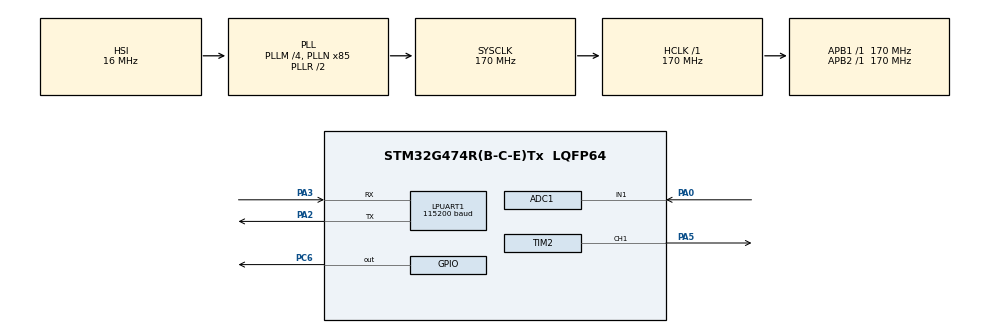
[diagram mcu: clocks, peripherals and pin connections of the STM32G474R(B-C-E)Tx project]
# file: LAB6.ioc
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ADC1.Channel-0\#ChannelRegularConversion=ADC_CHANNEL_1
ADC1.DMAContinuousRequests=ENABLE
ADC1.ExternalTrigConv=ADC_EXTERNALTRIG_T3_TRGO
ADC1.NbrOfConversionFlag=1
ADC1.OffsetNumber-0\#ChannelRegularConversion=ADC_OFFSET_NONE
ADC1.Overrun=ADC_OVR_DATA_OVERWRITTEN
ADC1.Rank-0\#ChannelRegularConversion=1
ADC1.SamplingTime-0\#ChannelRegularConversion=ADC_SAMPLETIME_47CYCLES_5
ADC1.master=1
Dma.ADC1.0.Direction=DMA_PERIPH_TO_MEMORY
Dma.ADC1.0.EventEnable=DISABLE
Dma.ADC1.0.Instance=DMA1_Channel1
Dma.ADC1.0.MemDataAlignment=DMA_MDATAALIGN_HALFWORD
Dma.ADC1.0.MemInc=DMA_MINC_ENABLE
Dma.ADC1.0.Mode=DMA_CIRCULAR
Dma.ADC1.0.PeriphDataAlignment=DMA_PDATAALIGN_HALFWORD
Dma.ADC1.0.PeriphInc=DMA_PINC_DISABLE
Dma.ADC1.0.Polarity=HAL_DMAMUX_REQ_GEN_RISING
Dma.ADC1.0.Priority=DMA_PRIORITY_HIGH
Dma.ADC1.0.RequestNumber=1
Dma.ADC1.0.SignalID=NONE
Dma.ADC1.0.SyncEnable=DISABLE
Dma.ADC1.0.SyncPolarity=HAL_DMAMUX_SYNC_NO_EVENT
Dma.ADC1.0.SyncRequestNumber=1
Dma.ADC1.0.SyncSignalID=NONE
Dma.Request0=ADC1
LPUART1.BaudRate=115200
Mcu.Family=STM32G4
Mcu.Name=STM32G474R(B-C-E)Tx
Mcu.Package=LQFP64
NVIC.DMA1_Channel1_IRQn=true\:0\:0\:false\:false\:true\:false\:true\:true
NVIC.PriorityGroup=NVIC_PRIORITYGROUP_4
PA0.Mode=IN1-Single-Ended
PA0.Signal=ADC1_IN1
PA13.GPIO_Label=T_SWDIO
PA13.Signal=SYS_JTMS-SWDIO
PA14.GPIO_Label=T_SWCLK
PA14.Signal=SYS_JTCK-SWCLK
PA2.Mode=Asynchronous
PA2.Signal=LPUART1_TX
PA3.Mode=Asynchronous
PA3.Signal=LPUART1_RX
PA5.Signal=S_TIM2_CH1
PB3.GPIO_Label=T_SWO
PB3.Signal=SYS_JTDO-SWO
PC14-OSC32_IN.GPIO_Label=RCC_OSC32_IN
PC14-OSC32_IN.Signal=RCC_OSC32_IN
PC15-OSC32_OUT.GPIO_Label=RCC_OSC32_OUT
PC15-OSC32_OUT.Signal=RCC_OSC32_OUT
PC6.Signal=GPIO_Output
PF0-OSC_IN.GPIO_Label=RCC_OSC_IN
PF0-OSC_IN.Signal=RCC_OSC_IN
PF1-OSC_OUT.GPIO_Label=RCC_OSC_OUT
PF1-OSC_OUT.Signal=RCC_OSC_OUT
ProjectManager.HeapSize=0x200
ProjectManager.StackSize=0x400
ProjectManager.TargetToolchain=STM32CubeIDE
RCC.ADC12Freq_Value=170000000
RCC.ADC345Freq_Value=170000000
RCC.AHBFreq_Value=170000000
RCC.APB1Freq_Value=170000000
RCC.APB1TimFreq_Value=170000000
RCC.APB2Freq_Value=170000000
RCC.APB2TimFreq_Value=170000000
RCC.CortexFreq_Value=170000000
RCC.EXTERNAL_CLOCK_VALUE=12288000
RCC.HCLKFreq_Value=170000000
RCC.HSE_VALUE=24000000
RCC.HSI48_VALUE=48000000
RCC.HSI_VALUE=16000000
RCC.LSE_VALUE=32768
RCC.PLLM=RCC_PLLM_DIV4
RCC.PLLN=85
RCC.RTCClockSelection=RCC_RTCCLKSOURCE_LSE
RCC.SYSCLKFreq_VALUE=170000000
RCC.SYSCLKSource=RCC_SYSCLKSOURCE_PLLCLK
RCC.USBFreq_Value=170000000
RCC.VCOOutputFreq_Value=340000000
SH.S_TIM2_CH1.0=TIM2_CH1,PWM Generation1 CH1
TIM2.Channel-PWM\ Generation1\ CH1=TIM_CHANNEL_1
TIM2.PeriodNoDither=999
TIM2.Prescaler=169
TIM3.AutoReloadPreload=TIM_AUTORELOAD_PRELOAD_DISABLE
TIM3.PeriodNoDither=124
TIM3.Prescaler=169
TIM3.TIM_MasterOutputTrigger=TIM_TRGO_UPDATE
VP_SYS_VS_DBSignals.Mode=DisableDeadBatterySignals
VP_TIM2_VS_ClockSourceINT.Mode=Internal
VP_TIM3_VS_ClockSourceINT.Mode=Internal
board=NUCLEO-G474RE

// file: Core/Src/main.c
/* USER CODE BEGIN Header */
/**
  ******************************************************************************
  * @file           : main.c
  * @brief          : Main program body
  ******************************************************************************
  * @attention
  *
  * Copyright (c) 2026 STMicroelectronics.
  * All rights reserved.
  *
  * This software is licensed under terms that can be found in the LICENSE file
  * in the root directory of this software component.
  * If no LICENSE file comes with this software, it is provided AS-IS.
  *
  ******************************************************************************
  */
/* USER CODE END Header */
#include "main.h"

/* USER CODE BEGIN Includes */
#include <stdio.h>
/* USER CODE END Includes */

ADC_HandleTypeDef hadc1;
DMA_HandleTypeDef hdma_adc1;

UART_HandleTypeDef hlpuart1;

TIM_HandleTypeDef htim2;
TIM_HandleTypeDef htim3;

/* USER CODE BEGIN PV */
#define ADC_BUF_SIZE 256
#define HALF_SIZE 128

uint16_t adc_buf[ADC_BUF_SIZE];

volatile uint8_t half_ready = 0;
volatile uint8_t full_ready = 0;

uint32_t noise = 0;
uint32_t threshold = 30;
uint32_t volume = 0;

uint32_t calibration_start = 0;
uint8_t calibrated = 0;

uint32_t duty = 0;

uint32_t last_uart_time = 0;
volatile uint16_t latest_adc = 0;
// PWM 律動燈新增變數
uint32_t current_duty = 0;
uint32_t target_duty = 0;
uint32_t last_fade_time = 0;

uint32_t red_threshold = 100;
/* USER CODE END PV */

void SystemClock_Config(void);
static void MX_GPIO_Init(void);
static void MX_DMA_Init(void);
static void MX_ADC1_Init(void);
static void MX_TIM2_Init(void);
static void MX_TIM3_Init(void);
static void MX_LPUART1_UART_Init(void);
/* USER CODE BEGIN PFP */
void Process_Audio(uint16_t start);
/* USER CODE END PFP */

int main(void)
{

  /* MCU Configuration--------------------------------------------------------*/

  /* Reset of all peripherals, Initializes the Flash interface and the Systick. */
  HAL_Init();

  /* Configure the system clock */
  SystemClock_Config();

  /* Initialize all configured peripherals */
  MX_GPIO_Init();
  MX_DMA_Init();
  MX_ADC1_Init();
  MX_TIM2_Init();
  MX_TIM3_Init();
  MX_LPUART1_UART_Init();
  /* USER CODE BEGIN 2 */

  // 啟動 TIM2 CH1 的 PWM
  if (HAL_TIM_PWM_Start(&htim2, TIM_CHANNEL_1) != HAL_OK)
  {
      Error_Handler();
  }

  // LED 初始熄滅
  __HAL_TIM_SET_COMPARE(&htim2, TIM_CHANNEL_1, 0);

  // 校正 ADC1
  if (HAL_ADCEx_Calibration_Start(&hadc1,
                                 ADC_SINGLE_ENDED) != HAL_OK)
  {
      Error_Handler();
  }

  // 啟動 ADC + DMA
  if (HAL_ADC_Start_DMA(&hadc1,
                        (uint32_t *)adc_buf,
                        ADC_BUF_SIZE) != HAL_OK)
  {
      Error_Handler();
  }

  // 記錄環境噪音校正開始時間
  calibration_start = HAL_GetTick();

  // 啟動 TIM3，開始每秒取樣 8000 次
  if (HAL_TIM_Base_Start(&htim3) != HAL_OK)
  {
      Error_Handler();
  }

  /* USER CODE END 2 */

  /* Infinite loop */
  while (1)
  {

    /* USER CODE BEGIN 3 */

	  if (half_ready)
	  {
	      half_ready = 0;
	      Process_Audio(0);
	  }

	  if (full_ready)
	  {
	      full_ready = 0;
	      Process_Audio(128);
	  }

	  // 每 20 ms 傳送一次真正的 ADC 數值
	  if (HAL_GetTick() - last_uart_time >= 20)
	  {
	      last_uart_time = HAL_GetTick();

	      char msg[32];

	      int len = snprintf(
	          msg,
	          sizeof(msg),
	          "ADC=%lu\r\n",
	          (unsigned long)latest_adc
	      );

	      if (len > 0 && len < (int)sizeof(msg))
	      {
	          HAL_UART_Transmit(
	              &hlpuart1,
	              (uint8_t *)msg,
	              (uint16_t)len,
	              20
	          );
	      }
	  }

	  // 每 5 ms 更新一次 PWM
	  if (HAL_GetTick() - last_fade_time >= 5)
	  {
	      last_fade_time = HAL_GetTick();

	      if (target_duty > current_duty)
	      {
	          // 聲音變大時，快速變亮
	          current_duty += 80;

	          if (current_duty > target_duty)
	          {
	              current_duty = target_duty;
	          }
	      }
	      else if (target_duty < current_duty)
	      {
	          // 聲音變小時，慢慢變暗
	          if (current_duty > 10)
	          {
	              current_duty -= 10;
	          }
	          else
	          {
	              current_duty = 0;
	          }
	      }

	      __HAL_TIM_SET_COMPARE(
	          &htim2,
	          TIM_CHANNEL_1,
	          current_duty
	      );
	  }

	  /* USER CODE END 3 */
	    }
}
void SystemClock_Config(void)
{
  RCC_OscInitTypeDef RCC_OscInitStruct = {0};
  RCC_ClkInitTypeDef RCC_ClkInitStruct = {0};

  /** Configure the main internal regulator output voltage
  */
  HAL_PWREx_ControlVoltageScaling(PWR_REGULATOR_VOLTAGE_SCALE1_BOOST);

  /** Initializes the RCC Oscillators according to the specified parameters
  * in the RCC_OscInitTypeDef structure.
  */
  RCC_OscInitStruct.OscillatorType = RCC_OSCILLATORTYPE_HSI;
  RCC_OscInitStruct.HSIState = RCC_HSI_ON;
  RCC_OscInitStruct.HSICalibrationValue = RCC_HSICALIBRATION_DEFAULT;
  RCC_OscInitStruct.PLL.PLLState = RCC_PLL_ON;
  RCC_OscInitStruct.PLL.PLLSource = RCC_PLLSOURCE_HSI;
  RCC_OscInitStruct.PLL.PLLM = RCC_PLLM_DIV4;
  RCC_OscInitStruct.PLL.PLLN = 85;
  RCC_OscInitStruct.PLL.PLLP = RCC_PLLP_DIV2;
  RCC_OscInitStruct.PLL.PLLQ = RCC_PLLQ_DIV2;
  RCC_OscInitStruct.PLL.PLLR = RCC_PLLR_DIV2;
  if (HAL_RCC_OscConfig(&RCC_OscInitStruct) != HAL_OK)
  {
    Error_Handler();
  }

  /** Initializes the CPU, AHB and APB buses clocks
  */
  RCC_ClkInitStruct.ClockType = RCC_CLOCKTYPE_HCLK|RCC_CLOCKTYPE_SYSCLK
                              |RCC_CLOCKTYPE_PCLK1|RCC_CLOCKTYPE_PCLK2;
  RCC_ClkInitStruct.SYSCLKSource = RCC_SYSCLKSOURCE_PLLCLK;
  RCC_ClkInitStruct.AHBCLKDivider = RCC_SYSCLK_DIV1;
  RCC_ClkInitStruct.APB1CLKDivider = RCC_HCLK_DIV1;
  RCC_ClkInitStruct.APB2CLKDivider = RCC_HCLK_DIV1;

  if (HAL_RCC_ClockConfig(&RCC_ClkInitStruct, FLASH_LATENCY_4) != HAL_OK)
  {
    Error_Handler();
  }
}

static void MX_ADC1_Init(void)
{

  ADC_MultiModeTypeDef multimode = {0};
  ADC_ChannelConfTypeDef sConfig = {0};

  /** Common config
  */
  hadc1.Instance = ADC1;
  hadc1.Init.ClockPrescaler = ADC_CLOCK_SYNC_PCLK_DIV4;
  hadc1.Init.Resolution = ADC_RESOLUTION_12B;
  hadc1.Init.DataAlign = ADC_DATAALIGN_RIGHT;
  hadc1.Init.GainCompensation = 0;
  hadc1.Init.ScanConvMode = ADC_SCAN_DISABLE;
  hadc1.Init.EOCSelection = ADC_EOC_SINGLE_CONV;
  hadc1.Init.LowPowerAutoWait = DISABLE;
  hadc1.Init.ContinuousConvMode = DISABLE;
  hadc1.Init.NbrOfConversion = 1;
  hadc1.Init.DiscontinuousConvMode = DISABLE;
  hadc1.Init.ExternalTrigConv = ADC_EXTERNALTRIG_T3_TRGO;
  hadc1.Init.ExternalTrigConvEdge = ADC_EXTERNALTRIGCONVEDGE_RISING;
  hadc1.Init.DMAContinuousRequests = ENABLE;
  hadc1.Init.Overrun = ADC_OVR_DATA_OVERWRITTEN;
  hadc1.Init.OversamplingMode = DISABLE;
  if (HAL_ADC_Init(&hadc1) != HAL_OK)
  {
    Error_Handler();
  }

  /** Configure the ADC multi-mode
  */
  multimode.Mode = ADC_MODE_INDEPENDENT;
  if (HAL_ADCEx_MultiModeConfigChannel(&hadc1, &multimode) != HAL_OK)
  {
    Error_Handler();
  }

  /** Configure Regular Channel
  */
  sConfig.Channel = ADC_CHANNEL_1;
  sConfig.Rank = ADC_REGULAR_RANK_1;
  sConfig.SamplingTime = ADC_SAMPLETIME_47CYCLES_5;
  sConfig.SingleDiff = ADC_SINGLE_ENDED;
  sConfig.OffsetNumber = ADC_OFFSET_NONE;
  sConfig.Offset = 0;
  if (HAL_ADC_ConfigChannel(&hadc1, &sConfig) != HAL_OK)
  {
    Error_Handler();
  }

}

static void MX_LPUART1_UART_Init(void)
{

  hlpuart1.Instance = LPUART1;
  hlpuart1.Init.BaudRate = 115200;
  hlpuart1.Init.WordLength = UART_WORDLENGTH_8B;
  hlpuart1.Init.StopBits = UART_STOPBITS_1;
  hlpuart1.Init.Parity = UART_PARITY_NONE;
  hlpuart1.Init.Mode = UART_MODE_TX_RX;
  hlpuart1.Init.HwFlowCtl = UART_HWCONTROL_NONE;
  hlpuart1.Init.OneBitSampling = UART_ONE_BIT_SAMPLE_DISABLE;
  hlpuart1.Init.ClockPrescaler = UART_PRESCALER_DIV1;
  hlpuart1.AdvancedInit.AdvFeatureInit = UART_ADVFEATURE_NO_INIT;
  if (HAL_UART_Init(&hlpuart1) != HAL_OK)
  {
    Error_Handler();
  }
  if (HAL_UARTEx_SetTxFifoThreshold(&hlpuart1, UART_TXFIFO_THRESHOLD_1_8) != HAL_OK)
  {
    Error_Handler();
  }
  if (HAL_UARTEx_SetRxFifoThreshold(&hlpuart1, UART_RXFIFO_THRESHOLD_1_8) != HAL_OK)
  {
    Error_Handler();
  }
  if (HAL_UARTEx_DisableFifoMode(&hlpuart1) != HAL_OK)
  {
    Error_Handler();
  }

}

static void MX_TIM2_Init(void)
{

  TIM_ClockConfigTypeDef sClockSourceConfig = {0};
  TIM_MasterConfigTypeDef sMasterConfig = {0};
  TIM_OC_InitTypeDef sConfigOC = {0};

  htim2.Instance = TIM2;
  htim2.Init.Prescaler = 169;
  htim2.Init.CounterMode = TIM_COUNTERMODE_UP;
  htim2.Init.Period = 999;
  htim2.Init.ClockDivision = TIM_CLOCKDIVISION_DIV1;
  htim2.Init.AutoReloadPreload = TIM_AUTORELOAD_PRELOAD_DISABLE;
  if (HAL_TIM_Base_Init(&htim2) != HAL_OK)
  {
    Error_Handler();
  }
  sClockSourceConfig.ClockSource = TIM_CLOCKSOURCE_INTERNAL;
  if (HAL_TIM_ConfigClockSource(&htim2, &sClockSourceConfig) != HAL_OK)
  {
    Error_Handler();
  }
  if (HAL_TIM_PWM_Init(&htim2) != HAL_OK)
  {
    Error_Handler();
  }
  sMasterConfig.MasterOutputTrigger = TIM_TRGO_RESET;
  sMasterConfig.MasterSlaveMode = TIM_MASTERSLAVEMODE_DISABLE;
  if (HAL_TIMEx_MasterConfigSynchronization(&htim2, &sMasterConfig) != HAL_OK)
  {
    Error_Handler();
  }
  sConfigOC.OCMode = TIM_OCMODE_PWM1;
  sConfigOC.Pulse = 0;
  sConfigOC.OCPolarity = TIM_OCPOLARITY_HIGH;
  sConfigOC.OCFastMode = TIM_OCFAST_DISABLE;
  if (HAL_TIM_PWM_ConfigChannel(&htim2, &sConfigOC, TIM_CHANNEL_1) != HAL_OK)
  {
    Error_Handler();
  }
  HAL_TIM_MspPostInit(&htim2);

}

static void MX_TIM3_Init(void)
{

  TIM_ClockConfigTypeDef sClockSourceConfig = {0};
  TIM_MasterConfigTypeDef sMasterConfig = {0};

  htim3.Instance = TIM3;
  htim3.Init.Prescaler = 169;
  htim3.Init.CounterMode = TIM_COUNTERMODE_UP;
  htim3.Init.Period = 124;
  htim3.Init.ClockDivision = TIM_CLOCKDIVISION_DIV1;
  htim3.Init.AutoReloadPreload = TIM_AUTORELOAD_PRELOAD_DISABLE;
  if (HAL_TIM_Base_Init(&htim3) != HAL_OK)
  {
    Error_Handler();
  }
  sClockSourceConfig.ClockSource = TIM_CLOCKSOURCE_INTERNAL;
  if (HAL_TIM_ConfigClockSource(&htim3, &sClockSourceConfig) != HAL_OK)
  {
    Error_Handler();
  }
  sMasterConfig.MasterOutputTrigger = TIM_TRGO_UPDATE;
  sMasterConfig.MasterSlaveMode = TIM_MASTERSLAVEMODE_DISABLE;
  if (HAL_TIMEx_MasterConfigSynchronization(&htim3, &sMasterConfig) != HAL_OK)
  {
    Error_Handler();
  }

}

static void MX_DMA_Init(void)
{

  /* DMA controller clock enable */
  __HAL_RCC_DMAMUX1_CLK_ENABLE();
  __HAL_RCC_DMA1_CLK_ENABLE();

  /* DMA interrupt init */
  /* DMA1_Channel1_IRQn interrupt configuration */
  HAL_NVIC_SetPriority(DMA1_Channel1_IRQn, 0, 0);
  HAL_NVIC_EnableIRQ(DMA1_Channel1_IRQn);

}

static void MX_GPIO_Init(void)
{
  GPIO_InitTypeDef GPIO_InitStruct = {0};

  /* GPIO Ports Clock Enable */
  __HAL_RCC_GPIOC_CLK_ENABLE();
  __HAL_RCC_GPIOF_CLK_ENABLE();
  __HAL_RCC_GPIOA_CLK_ENABLE();
  __HAL_RCC_GPIOB_CLK_ENABLE();

  /*Configure GPIO pin Output Level */
  HAL_GPIO_WritePin(GPIOC, GPIO_PIN_6, GPIO_PIN_RESET);

  /*Configure GPIO pin : PC6 */
  GPIO_InitStruct.Pin = GPIO_PIN_6;
  GPIO_InitStruct.Mode = GPIO_MODE_OUTPUT_PP;
  GPIO_InitStruct.Pull = GPIO_NOPULL;
  GPIO_InitStruct.Speed = GPIO_SPEED_FREQ_LOW;
  HAL_GPIO_Init(GPIOC, &GPIO_InitStruct);

}

/* USER CODE BEGIN 4 */

void HAL_ADC_ConvHalfCpltCallback(
    ADC_HandleTypeDef *hadc)
{
    if (hadc->Instance == ADC1)
    {
        half_ready = 1;
    }
}

void HAL_ADC_ConvCpltCallback(
    ADC_HandleTypeDef *hadc)
{
    if (hadc->Instance == ADC1)
    {
        full_ready = 1;
    }
}

void Process_Audio(uint16_t start)
{
    uint16_t max_val = 0;
    uint16_t min_val = 4095;

    // 計算 128 筆 ADC 的最大值與最小值
    for (uint16_t i = start; i < start + HALF_SIZE; i++)
    {
        if (adc_buf[i] > max_val)
        {
            max_val = adc_buf[i];
        }

        if (adc_buf[i] < min_val)
        {
            min_val = adc_buf[i];
        }
    }

    // 音量 = 最大值 - 最小值
    volume = max_val - min_val;

    latest_adc = adc_buf[start + HALF_SIZE - 1];    // 開機前 1 秒測量環境噪音
    if (!calibrated)
    {
        if (volume > noise)
        {
            noise = volume;
        }

        if (HAL_GetTick() - calibration_start >= 1000)
        {
            threshold = noise * 3 + 10;
            calibrated = 1;
        }

        return;
    }
    // 新增：紅燈門檻開關
    if (volume >= red_threshold)
    {
        HAL_GPIO_WritePin(GPIOC, GPIO_PIN_6, GPIO_PIN_SET);
    }
    else
    {
        HAL_GPIO_WritePin(GPIOC, GPIO_PIN_6, GPIO_PIN_RESET);
    }

    // 聲音越大，目標亮度越高

    if (volume <= threshold)
    {
        target_duty = 0;
    }
    else if (volume >= threshold * 4)
    {
        target_duty = 1000;
    }
    else
    {
        target_duty =
            (volume - threshold) * 1000 /
            (threshold * 3);
    }

}
int __io_putchar(int ch)
{
    HAL_UART_Transmit(&hlpuart1,
                      (uint8_t *)&ch,
                      1,
                      100);
    return ch;
}

/* USER CODE END 4 */

void Error_Handler(void)
{
  __disable_irq();
  while (1)
  {
  }
}
